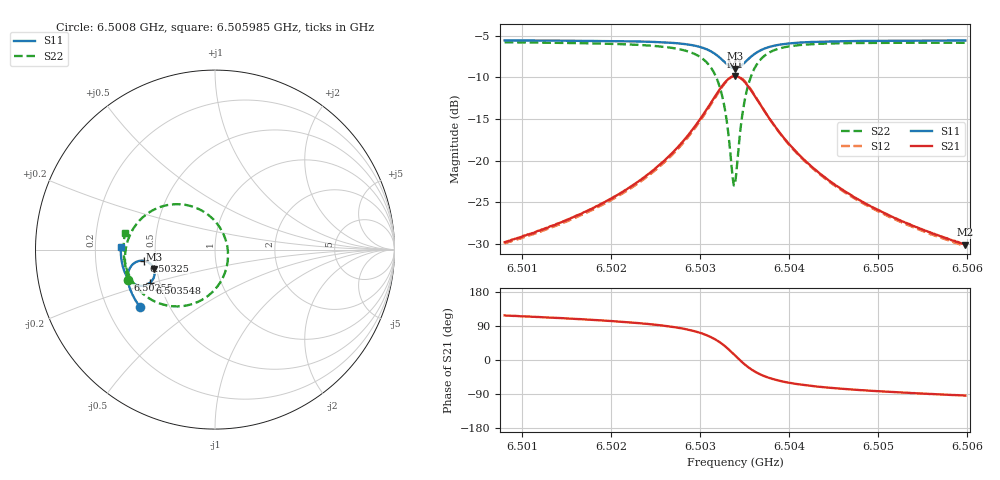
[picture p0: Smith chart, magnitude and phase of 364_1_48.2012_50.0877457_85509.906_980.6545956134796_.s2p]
#  HZ  S  RI  R  50.00
! Rohde & Schwarz Vector Network Analyzer
! Rohde-Schwarz,ZNB20-2Port,1311601062101988,3.16
! Created: UTC 3/20/2024, 11:52:19 AM
! freq[Hz]  re:S11  im:S11  re:S21  im:S21  re:S12  im:S12  re:S22  im:S22
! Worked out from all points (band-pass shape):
!   401 points, 6.5008 GHz to 6.505985 GHz, reference 50 ohm
!   highest |S21| = -9.85 dB at 6.503392 GHz (marker M1); lowest = -30.1 dB at 6.505985 GHz (marker M2)
!   |S21| within 3 dB of the highest: 6.503134 GHz to 6.503651 GHz (517.4 kHz wide, 0.00796 % of centre)
!   lowest |S11| = -8.9 dB at 6.503392 GHz (marker M3), VSWR 2.11, Z = 24.1 - j6.09 ohm
!   |S11| at or under -10 dB: nowhere
!   |S22| runs from -23.0 to -5.8 dB; largest |S21 - S12| = 0.011
!   S11 on the Smith chart (normalised r, x): 6.5008 GHz: 0.34, -0.30; 6.50255 GHz: 0.33, -0.15; 6.50325 GHz: 0.43, -0.06; 6.503548 GHz: 0.44, -0.20; 6.505985 GHz: 0.31, +0.01
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6.5007999e9  -0.4194 -0.3183  -0.0151 0.0287  -0.0133 0.0289  -0.4852 -0.1678
6.5016683e9  -0.4576 -0.2554  -0.0145 0.046  -0.0123 0.0457  -0.5009 -0.0778
6.5021738e9  -0.4759 -0.2113  -0.0116 0.0663  -0.0085 0.0653  -0.4989 -0.00765
6.5025368e9  -0.485 -0.1719  -0.00335 0.0936  0.000301 0.0916  -0.4815 0.063
6.5025497e9  -0.4852 -0.1703  -0.00291 0.0949  0.000879 0.0929  -0.4804 0.0661
6.502796e9  -0.4847 -0.1352  0.0151 0.1277  0.0189 0.1241  -0.4427 0.1353
6.5029775e9  -0.4737 -0.1019  0.0491 0.1636  0.0524 0.1582  -0.3759 0.2012
6.503146e9  -0.4396 -0.0689  0.1254 0.1968  0.1267 0.1903  -0.2357 0.2519
6.5032497e9  -0.3976 -0.0618  0.2095 0.1885  0.2098 0.183  -0.0896 0.2255
6.5033015e9  -0.3725 -0.0702  0.2572 0.1611  0.2579 0.1565  -0.0102 0.1694
6.5033663e9  -0.3461 -0.096  0.3043 0.0988  0.3067 0.0937  0.0608 0.0497
6.5033922e9  -0.3399 -0.1102  0.3146 0.0673  0.3174 0.0616  0.0719 -0.00897
6.5034052e9  -0.3379 -0.1177  0.3172 0.0508  0.3204 0.0445  0.0726 -0.0391
6.503483e9  -0.3437 -0.1618  0.3009 -0.042  0.3027 -0.0518  0.0166 -0.2013
6.5035478e9  -0.3645 -0.187  0.2592 -0.0955  0.258 -0.1061  -0.0776 -0.2826
6.5036515e9  -0.4032 -0.2018  0.186 -0.131  0.1809 -0.1401  -0.2243 -0.3162
6.50382e9  -0.4486 -0.192  0.1064 -0.1283  0.0996 -0.1332  -0.3681 -0.2708
6.5040014e9  -0.4756 -0.1707  0.0628 -0.1089  0.0567 -0.1111  -0.4389 -0.2075
6.5042607e9  -0.4961 -0.1406  0.0334 -0.0853  0.0287 -0.0858  -0.4815 -0.1363
6.5046495e9  -0.5116 -0.1008  0.0148 -0.0627  0.0114 -0.0624  -0.5037 -0.0619
6.5051291e9  -0.521 -0.057  0.005 -0.0467  0.00259 -0.0461  -0.5097 0.00369
6.5059846e9  -0.5258 0.0149  -0.00217 -0.0313  -0.00333 -0.0305  -0.5013 0.0923
